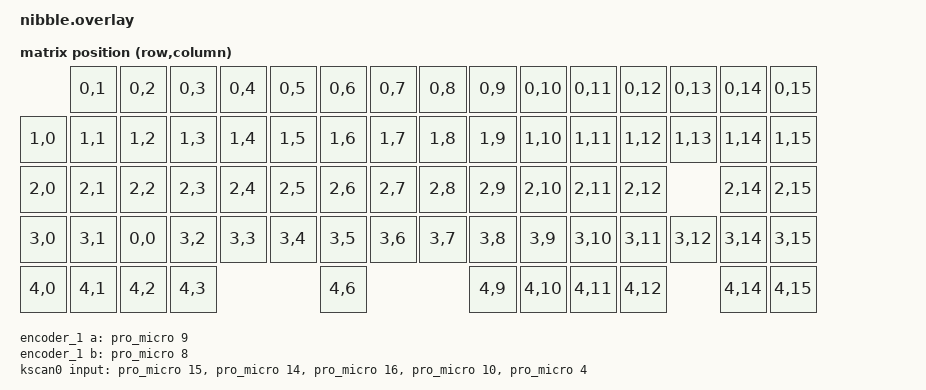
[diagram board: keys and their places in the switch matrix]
/*
 * Copyright (c) 2020 The ZMK Contributors
 *
 * SPDX-License-Identifier: MIT
 */

#include <dt-bindings/zmk/matrix_transform.h>

/ {
	chosen {
		zmk,kscan = &kscan0;
		zmk,matrix_transform = &default_transform;
	};

	encoder_1: encoder_1 {
		compatible = "alps,ec11";
		label = "Encoder 1";
		a-gpios = <&pro_micro 9 (GPIO_ACTIVE_LOW | GPIO_PULL_UP)>;
		b-gpios = <&pro_micro 8 (GPIO_ACTIVE_LOW | GPIO_PULL_UP)>;
		resolution = <4>;
		status = "okay";
	};

	kscan0: kscan {
		compatible = "zmk,kscan-gpio-demux";
		label = "KSCAN";
		polling-interval-msec = <25>;
		input-gpios
			= <&pro_micro 15 (GPIO_ACTIVE_LOW | GPIO_PULL_UP)>
			, <&pro_micro 14 (GPIO_ACTIVE_LOW | GPIO_PULL_UP)>
			, <&pro_micro 16 (GPIO_ACTIVE_LOW | GPIO_PULL_UP)>
			, <&pro_micro 10 (GPIO_ACTIVE_LOW | GPIO_PULL_UP)>
			, <&pro_micro 4  (GPIO_ACTIVE_LOW | GPIO_PULL_UP)>
			;
		output-gpios
			= <&pro_micro 21 GPIO_ACTIVE_HIGH>
			, <&pro_micro 20 GPIO_ACTIVE_HIGH>
			, <&pro_micro 19 GPIO_ACTIVE_HIGH>
			, <&pro_micro 18 GPIO_ACTIVE_HIGH>
			;
	};

	default_transform: keymap_transform_0 {
		compatible = "zmk,matrix-transform";
		columns = <16>;
		rows = <5>;

		map = <
        RC(0,1) RC(0,2) RC(0,3) RC(0,4) RC(0,5) RC(0,6) RC(0,7) RC(0,8) RC(0,9) RC(0,10) RC(0,11) RC(0,12) RC(0,13)  RC(0,14) RC(0,15)
RC(1,0) RC(1,1) RC(1,2) RC(1,3) RC(1,4) RC(1,5) RC(1,6) RC(1,7) RC(1,8) RC(1,9)  RC(1,10) RC(1,11) RC(1,12) RC(1,13) RC(1,14) RC(1,15)
RC(2,0) RC(2,1) RC(2,2) RC(2,3) RC(2,4) RC(2,5) RC(2,6) RC(2,7) RC(2,8) RC(2,9)  RC(2,10) RC(2,11) RC(2,12) 	     RC(2,14) RC(2,15)
RC(3,0) RC(3,1) RC(0,0) RC(3,2) RC(3,3) RC(3,4) RC(3,5) RC(3,6) RC(3,7) RC(3,8)  RC(3,9)  RC(3,10) RC(3,11) RC(3,12) RC(3,14) RC(3,15)
RC(4,0) RC(4,1) RC(4,2) RC(4,3)                 RC(4,6)                 RC(4,9)  RC(4,10) RC(4,11) RC(4,12)          RC(4,14) RC(4,15) 
		>;
	};
};

&pro_micro_i2c {
	status = "okay";

	oled: ssd1306@3c {
		compatible = "solomon,ssd1306fb";
		reg = <0x3c>;
		label = "DISPLAY";
		width = <128>;
		height = <32>;
		segment-offset = <0>;
		page-offset = <0>;
		display-offset = <0>;
		multiplex-ratio = <31>;
		com-sequential;
		prechargep = <0x22>;
	};
};
